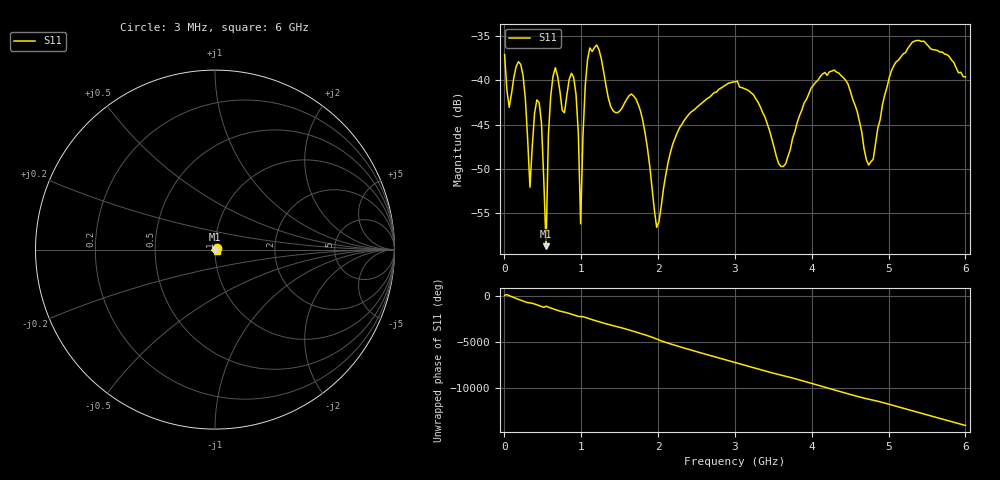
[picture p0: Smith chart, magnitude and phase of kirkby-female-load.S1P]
! C:\data\Siglent F603FE cal kit tests\avg 16 100hz ifbw\kirkby load.S1P
! Touchstone 1.1 file saved by VNA.EXE V1.60 (www.ke5fx.com/gpib/readme.htm)
! 26/07/2020 12:25:19 p.m.
!  Source: HEWLETT PACKARD,8753C,0,4.12
!  Min freq: 3.000000E+006 Hz
!  Max freq: 6.000000E+009 Hz
!  Points: 201
!  Params: S11
# GHZ S DB R 50
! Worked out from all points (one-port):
!   201 points, 3 MHz to 6 GHz, reference 50 ohm
!   lowest |S11| = -58.8 dB at 542.7 MHz (marker M1), VSWR 1.00, Z = 50 - j0.107 ohm
!   |S11| at or under -10 dB: start of sweep to end of sweep
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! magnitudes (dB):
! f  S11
! 3 MHz  -37.1
! 62.97 MHz  -43.0
! 242.9 MHz  -39.4
! 332.8 MHz  -52.1
! 392.8 MHz  -43.7
! 452.8 MHz  -42.5
! 482.8 MHz  -44.8
! 542.7 MHz  -58.8
! 572.7 MHz  -46.2
! 632.7 MHz  -39.5
! 752.6 MHz  -43.4
! 902.5 MHz  -39.7
! 962.5 MHz  -46.0
! 992.5 MHz  -56.3
! 1.052 GHz  -40.6
! 1.112 GHz  -36.3
! 1.502 GHz  -43.5
! 1.772 GHz  -43.5
! 1.982 GHz  -56.7
! 2.252 GHz  -45.9
! 3.002 GHz  -40.1
! 3.601 GHz  -49.8
! 3.751 GHz  -46.5
! 4.141 GHz  -39.3
! 4.501 GHz  -41.2
! 4.741 GHz  -49.6
! 5.25 GHz  -36.4
! 6 GHz  -39.6
